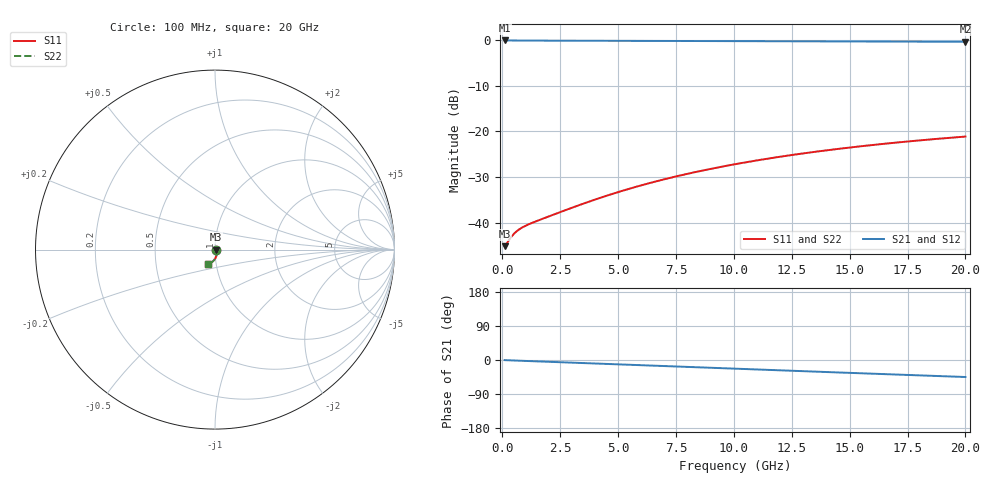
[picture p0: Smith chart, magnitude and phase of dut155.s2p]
! Touchstone file exported from HFSS 2026.1.0
!  File:  C:/ffzhzh/LocalFiles/Ansys_Project_Files/temp_train_BSMRDL_155_1782986665_45328.aedt
!  Generated:  06:06:16 PM Jul  2, 2026
!  Design:  BSMRDL
!  Project:  temp_train_BSMRDL_155_1782986665_45328
! Variables:
!  h_bsmrdl = 3.34um
!  h_ox = 20um
!  h_rdl = 5um
!  h_sub = 80um
!  h_tmrdl = 5um
!  h_tsv = 80um
!  h_via = 3um
!  l_bsmrdl = 803.45um
!  l_sub = 1203.45um
!  l_tmrdl = 200um
!  m_sub = 200um
!  pitch = 18.55um
!  r_tsv = 6um
!  s_tmrdl = 10um
!  w_bsmrdl = 16.1um
!  w_sub = 500um
!  w_tmrdl = 12um
!  x_tsv_center1 = 206um
!  x_tsv_center2 = 1025.55um
!  x_tsv_center3 = 1237.55um
!  x_tsv_center4 = 2057.1um
!  x_tsv_center5 = 2269.1um
!  x_tsv_center6 = 3088.65um
# GHz S MA R 50.000000
! Terminal data exported
! Port[1] = BSM_RDL1_1_T1
! Port[2] = BSM_RDL1_1_T2
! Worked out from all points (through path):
!   200 points, 100 MHz to 20 GHz, reference 50 ohm
!   highest |S21| = -0.05 dB at 100 MHz (marker M1); lowest = -0.3 dB at 20 GHz (marker M2)
!   group delay of S21, straight-line fit = 6.21 ps
!   lowest |S11| = -45.2 dB at 100 MHz (marker M3), VSWR 1.01, Z = 50.6 + j0.0488 ohm
!   |S11| at or under -10 dB: start of sweep to end of sweep
!   |S22| runs from -45.2 to -21.1 dB; largest |S21 - S12| = 3e-15
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0.1  0.005507 5.0  0.9945 -0.3  0.9945 -0.3  0.005507 5.0
! Gamma 0 0 0 0
! Port Impedance 50 0 50 0
0.2  0.005935 8.0  0.9941 -0.6  0.9941 -0.6  0.005935 8.0
0.4  0.007021 7.4  0.9931 -1.1  0.9931 -1.1  0.007021 7.4
0.5  0.007514 5.2  0.9925 -1.3  0.9925 -1.3  0.007514 5.2
0.6  0.007943 2.5  0.9921 -1.5  0.9921 -1.5  0.007943 2.5
0.7  0.008316 -0.4  0.9917 -1.8  0.9917 -1.8  0.008315 -0.4
0.9  0.008937 -6.1  0.9911 -2.2  0.9911 -2.2  0.008937 -6.1
1.2  0.009709 -14.0  0.9905 -2.9  0.9905 -2.9  0.009708 -14.0
1.6  0.01066 -22.9  0.9899 -3.8  0.9899 -3.8  0.01066 -22.9
3.5  0.01612 -49.5  0.9878 -8.2  0.9878 -8.2  0.01612 -49.5
4.3  0.01893 -56.3  0.9867 -10.0  0.9867 -10.0  0.01892 -56.3
5.1  0.02196 -61.7  0.9856 -11.9  0.9856 -11.9  0.02195 -61.8
5.9  0.02518 -66.4  0.9844 -13.7  0.9844 -13.7  0.02516 -66.4
6.8  0.02898 -70.9  0.9829 -15.7  0.9829 -15.7  0.02896 -70.9
8.4  0.03607 -77.8  0.9802 -19.3  0.9802 -19.3  0.03604 -77.8
10.1  0.04389 -84.3  0.9774 -23.1  0.9774 -23.1  0.04385 -84.3
11.7  0.05134 -89.8  0.9747 -26.7  0.9747 -26.7  0.05129 -89.9
13.4  0.05922 -95.3  0.9719 -30.4  0.9719 -30.4  0.05916 -95.4
15  0.06651 -100.2  0.9694 -34.0  0.9694 -34.0  0.06644 -100.3
16.7  0.07404 -105.2  0.9668 -37.7  0.9668 -37.7  0.07396 -105.3
18.3  0.08085 -109.8  0.9643 -41.2  0.9643 -41.2  0.08076 -109.8
20  0.08774 -114.4  0.9618 -44.9  0.9618 -44.9  0.08764 -114.5
